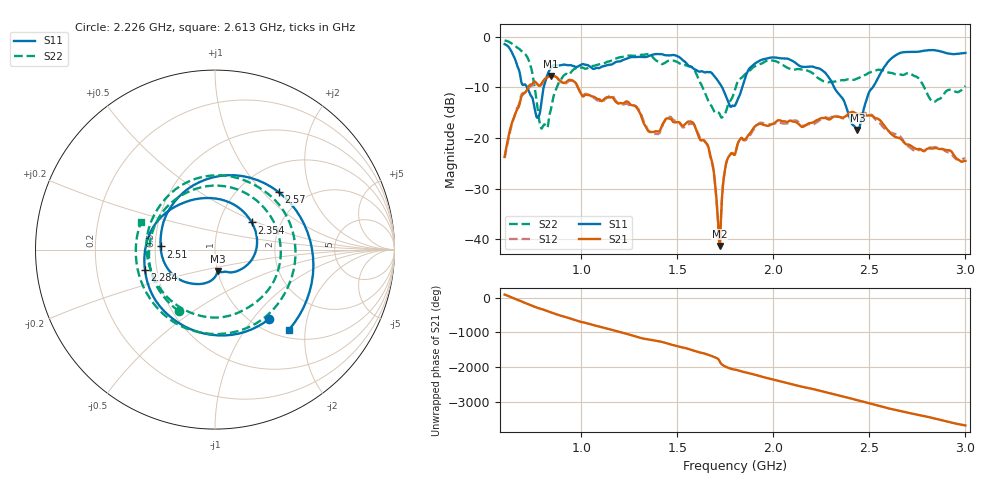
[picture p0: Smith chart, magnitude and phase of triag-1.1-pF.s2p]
#  HZ  S  RI  R  50.00
! Rohde & Schwarz ZVB8 2Ports - Version 2.81 - 1145.1010k08 SN: 100113
! Date: 2016-03-12 01:20:10
! Measurements: S11 S21 S12 S22
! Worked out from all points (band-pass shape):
!   1000 points, 600 MHz to 3 GHz, reference 50 ohm
!   highest |S21| = -7.73 dB at 840.2 MHz (marker M1); lowest = -41.3 dB at 1.72 GHz (marker M2)
!   |S21| within 3 dB of the highest: 712.8 MHz to 990.3 MHz (277.6 MHz wide, 32.6 % of centre)
!   lowest |S11| = -18.4 dB at 2.438 GHz (marker M3), VSWR 1.27, Z = 50 - j12.1 ohm
!   |S11| at or under -10 dB: 716.6 MHz to 803.4 MHz (86.78 MHz wide, 11.4 % of centre); 1.733 GHz to 1.838 GHz (104.9 MHz wide, 5.88 % of centre); 2.316 GHz to 2.518 GHz (201.3 MHz wide, 8.33 % of centre)
!   |S22| runs from -18.2 to -0.7 dB; largest |S21 - S12| = 0.02
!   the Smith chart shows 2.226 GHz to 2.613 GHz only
!   S11 on the Smith chart (normalised r, x): 2.226 GHz: 1.19, -1.21; 2.284 GHz: 0.43, -0.12; 2.354 GHz: 1.43, +0.46; 2.51 GHz: 0.53, +0.02; 2.57 GHz: 1.49, +1.23; 2.613 GHz: 1.16, -1.64
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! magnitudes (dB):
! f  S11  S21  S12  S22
! 600 MHz  -1.5  -23.7  -24.0  -0.7
! 720.1 MHz  -10.3  -10.3  -10.5  -4.2
! 770.6 MHz  -16.0  -9.4  -9.4  -13.9
! 840.2 MHz  -6.2  -7.7  -7.5  -14.5
! 1.001 GHz  -5.5  -11.5  -11.2  -6.1
! 1.4 GHz  -3.4  -18.7  -19.2  -4.9
! 1.645 GHz  -7.0  -20.8  -20.7  -11.2
! 1.72 GHz  -9.2  -41.3  -41.4  -15.2
! 1.753 GHz  -11.7  -25.2  -25.1  -14.8
! 1.801 GHz  -13.5  -23.1  -23.0  -10.3
! 1.931 GHz  -4.7  -17.2  -17.0  -5.4
! 2.2 GHz  -5.9  -17.0  -17.4  -7.1
! 2.226 GHz  -6.2  -16.5  -16.9  -8.0
! 2.284 GHz  -7.8  -16.3  -16.0  -9.0
! 2.354 GHz  -11.9  -16.0  -16.1  -8.6
! 2.438 GHz  -18.4  -15.3  -15.3  -8.2
! 2.51 GHz  -10.3  -15.6  -15.4  -7.0
! 2.57 GHz  -6.4  -17.2  -17.8  -6.6
! 2.601 GHz  -4.8  -18.7  -18.7  -7.1
! 2.613 GHz  -4.3  -19.2  -19.0  -7.1
! 2.834 GHz  -2.6  -22.0  -21.9  -12.9
! 3 GHz  -3.2  -24.5  -24.1  -9.7
